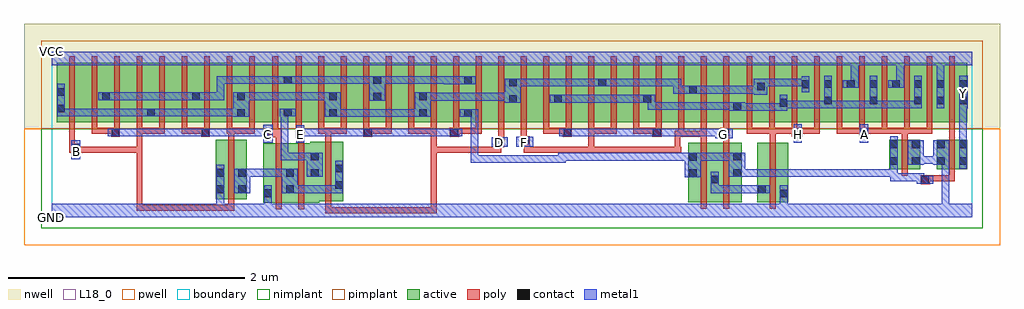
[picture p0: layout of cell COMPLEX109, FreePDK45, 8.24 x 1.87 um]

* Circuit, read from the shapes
.subckt COMPLEX109 A B C D E F G GND H VCC Y
M1 n1 B GND VSUBS nfet w=0.5u l=0.05u
M2 n1 C GND VSUBS nfet w=0.5u l=0.05u
M3 n2 E n1 VSUBS nfet w=0.5u l=0.05u
M4 n1 D n2 VSUBS nfet w=0.5u l=0.05u
M5 n3 F n2 VSUBS nfet w=0.5u l=0.05u
M6 n2 G n3 VSUBS nfet w=0.5u l=0.05u
M7 GND H n3 VSUBS nfet w=0.5u l=0.05u
M8 GND A n2 VSUBS nfet w=0.25u l=0.05u
M9 Y n2 GND VSUBS nfet w=0.25u l=0.05u
M10 n4 B n5 n6 pfet w=0.5u l=0.05u
M11 n2 C n4 n6 pfet w=0.5u l=0.05u
M12 n7 C n2 n6 pfet w=0.5u l=0.05u
M13 n5 B n7 n6 pfet w=0.5u l=0.05u
M14 n8 B n5 n6 pfet w=0.5u l=0.05u
M15 n2 C n8 n6 pfet w=0.5u l=0.05u
M16 n9 C n2 n6 pfet w=0.5u l=0.05u
M17 n5 B n9 n6 pfet w=0.5u l=0.05u
M18 n10 B n5 n6 pfet w=0.5u l=0.05u
M19 n2 C n10 n6 pfet w=0.5u l=0.05u
M20 n11 E n2 n6 pfet w=0.5u l=0.05u
M21 n5 D n11 n6 pfet w=0.5u l=0.05u
M22 n12 D n5 n6 pfet w=0.5u l=0.05u
M23 n2 E n12 n6 pfet w=0.5u l=0.05u
M24 n13 E n2 n6 pfet w=0.5u l=0.05u
M25 n5 D n13 n6 pfet w=0.5u l=0.05u
M26 n14 D n5 n6 pfet w=0.5u l=0.05u
M27 n2 E n14 n6 pfet w=0.5u l=0.05u
M28 n15 E n2 n6 pfet w=0.5u l=0.05u
M29 n5 D n15 n6 pfet w=0.5u l=0.05u
M30 n16 F n5 n6 pfet w=0.5u l=0.05u
M31 n17 G n16 n6 pfet w=0.5u l=0.05u
M32 n18 G n17 n6 pfet w=0.5u l=0.05u
M33 n5 F n18 n6 pfet w=0.5u l=0.05u
M34 n19 F n5 n6 pfet w=0.5u l=0.05u
M35 n17 G n19 n6 pfet w=0.5u l=0.05u
M36 n20 G n17 n6 pfet w=0.5u l=0.05u
M37 n5 F n20 n6 pfet w=0.5u l=0.05u
M38 n21 F n5 n6 pfet w=0.5u l=0.05u
M39 n17 G n21 n6 pfet w=0.5u l=0.05u
M40 n5 H n17 n6 pfet w=0.5u l=0.05u m=4
M41 VCC A n17 n6 pfet w=0.5u l=0.05u m=5
M42 Y n2 VCC n6 pfet w=0.5u l=0.05u
.ends

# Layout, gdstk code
import gdstk
lib = gdstk.Library(unit=1e-6, precision=1e-09)
def R(c, l, rs):  # rectangles x0, y0, x1, y1
    for r in rs: c.add(gdstk.rectangle(r[:2], r[2:], *l))
def A(c, l, x, y, w, h, nx, ny, dx, dy):  # array of equal rectangles
    R(c, l, [(x+i*dx, y+j*dy, x+i*dx+w, y+j*dy+h) for i in range(nx) for j in range(ny)])
active = (1, 0)
pwell = (2, 0)
nwell = (3, 0)
nimplant = (4, 0)
pimplant = (5, 0)
poly = (9, 0)
contact = (10, 0)
metal1 = (11, 0)
L18_0 = (18, 0)
boundary = (235, 0)

complex109 = lib.new_cell('COMPLEX109')
A(complex109, active, 0.04, 0.805, 0.225, 0.5, 4, 1, 0.38, 0)
A(complex109, active, 0.265, 0.805, 0.23, 0.5, 4, 1, 0.38, 0)
A(complex109, active, 2.94, 0.805, 0.23, 0.5, 4, 1, 0.38, 0)
A(complex109, active, 3.095, 0.805, 0.225, 0.5, 4, 1, 0.38, 0)
R(complex109, active, [(1.787,0.125,2.047,0.625), (1.972,0.125,2.257,0.625), (1.787,0.13,1.862,0.592), (5.375,0.13,5.635,0.63), (5.56,0.13,5.825,0.63), (5.957,0.13,6.217,0.63), (2.182,0.137,2.462,0.637), (1.385,0.155,1.645,0.655), (1.385,0.157,1.46,0.655), (6.142,0.157,6.217,0.592), (1.57,0.195,1.645,0.655), (1.972,0.195,2.047,0.592), (2.182,0.195,2.257,0.625), (2.387,0.195,2.462,0.637), (5.375,0.195,5.45,0.63), (5.56,0.195,5.635,0.592), (5.75,0.195,5.825,0.63), (5.957,0.195,6.032,0.63), (7.072,0.405,7.147,0.655), (7.072,0.405,7.332,0.655), (7.47,0.405,7.73,0.655), (7.655,0.405,7.73,0.655), (7.257,0.407,7.332,0.655), (7.47,0.407,7.545,0.655), (0.04,0.805,0.145,1.2), (1.56,0.805,1.792,1.305), (1.792,0.805,2.03,1.305), (1.955,0.805,2.18,1.305), (2.18,0.805,2.41,1.305), (2.335,0.805,2.56,1.305), (2.56,0.805,2.785,1.305), (2.71,0.805,2.94,1.305), (4.46,0.805,4.685,1.305), (4.61,0.805,4.84,1.305), (4.84,0.805,5.065,1.305), (4.99,0.805,5.22,1.305), (5.22,0.805,5.45,1.305), (5.375,0.805,5.6,1.305), (5.6,0.805,5.825,1.305), (5.75,0.805,6.025,1.305), (5.95,0.805,6.215,1.305), (6.14,0.805,6.4,1.305), (6.325,0.805,6.59,1.305), (6.515,0.805,6.782,1.305), (6.707,0.805,6.975,1.305), (6.9,0.805,7.165,1.305), (7.09,0.805,7.35,1.305), (7.275,0.805,7.54,1.305), (7.465,0.805,7.73,1.305), (7.655,0.805,7.73,1.2), (0.42,0.807,0.495,1.2), (0.8,0.807,0.875,1.07), (1.18,0.807,1.255,1.2), (1.56,0.807,1.635,1.07), (1.955,0.807,2.03,1.2), (2.335,0.807,2.41,1.07), (2.71,0.807,2.785,1.2), (3.095,0.807,3.17,1.07), (3.475,0.807,3.55,1.2), (3.855,0.807,3.93,1.2), (4.235,0.807,4.31,1.07), (4.61,0.807,4.685,1.2), (4.99,0.807,5.065,1.07), (5.375,0.807,5.45,1.2), (5.75,0.807,5.825,1.07), (5.95,0.807,6.025,1.2), (6.14,0.807,6.215,1.07), (6.325,0.807,6.4,1.2), (6.515,0.807,6.59,1.2), (6.707,0.807,6.782,1.305), (6.9,0.807,6.975,1.2), (7.09,0.807,7.165,1.305), (7.275,0.807,7.35,1.2), (7.465,0.807,7.54,1.305)])
R(complex109, pwell, [(-0.235,-0.235,8.005,0.75)])
R(complex109, nwell, [(-0.235,0.75,8.005,1.635)])
R(complex109, nimplant, [(-0.09,-0.09,7.86,0.75)])
R(complex109, pimplant, [(-0.09,0.75,7.86,1.49)])
A(complex109, poly, 0.335, 0.705, 0.05, 0.095, 8, 1, 0.19, 0)
A(complex109, poly, 2.25, 0.705, 0.05, 0.095, 8, 1, 0.19, 0)
A(complex109, poly, 2.82, 0.705, 0.05, 0.05, 3, 1, 0.19, 0)
A(complex109, poly, 4.15, 0.705, 0.05, 0.095, 6, 1, 0.19, 0)
A(complex109, poly, 4.53, 0.705, 0.05, 0.05, 3, 1, 0.19, 0)
A(complex109, poly, 5.865, 0.705, 0.05, 0.095, 10, 1, 0.19, 0)
A(complex109, poly, 6.435, 0.705, 0.05, 0.05, 3, 1, 0.19, 0)
A(complex109, poly, 0.145, 0.75, 0.05, 0.61, 9, 1, 0.19, 0)
A(complex109, poly, 2.06, 0.75, 0.05, 0.61, 20, 1, 0.19, 0)
A(complex109, poly, 5.865, 0.75, 0.05, 0.61, 10, 1, 0.19, 0)
R(complex109, poly, [(2.307,0.037,2.357,0.132), (2.307,0.037,2.357,0.087), (2.307,0.037,2.49,0.087), (2.44,0.037,2.49,0.087), (2.44,0.037,2.49,0.087), (2.44,0.037,2.49,0.087), (2.44,0.037,2.622,0.087), (2.572,0.037,2.622,0.087), (2.572,0.037,2.622,0.087), (2.572,0.037,2.622,0.087), (2.572,0.037,2.622,0.087), (2.572,0.037,2.622,0.087), (2.572,0.037,2.927,0.087), (2.877,0.037,2.927,0.087), (2.877,0.037,2.927,0.087), (2.877,0.037,2.927,0.087), (2.877,0.037,3.117,0.087), (3.067,0.037,3.117,0.087), (3.067,0.037,3.117,0.087), (3.067,0.037,3.117,0.087), (3.067,0.037,3.25,0.087), (3.2,0.037,3.25,0.087), (3.2,0.037,3.25,0.087), (3.2,0.037,3.25,0.087), (3.2,0.037,3.25,0.597), (0.715,0.055,0.765,0.105), (0.715,0.055,0.975,0.105), (0.715,0.055,0.765,0.597), (0.925,0.055,0.975,0.105), (0.925,0.055,0.975,0.105), (0.925,0.055,0.975,0.105), (0.925,0.055,1.145,0.105), (1.095,0.055,1.145,0.105), (1.095,0.055,1.145,0.105), (1.095,0.055,1.145,0.105), (1.095,0.055,1.145,0.105), (1.095,0.055,1.145,0.105), (1.095,0.055,1.145,0.105), (1.095,0.055,1.145,0.105), (1.095,0.055,1.277,0.105), (1.227,0.055,1.277,0.105), (1.227,0.055,1.277,0.105), (1.227,0.055,1.277,0.105), (1.227,0.055,1.54,0.105), (1.49,0.055,1.54,0.15), (1.49,0.055,1.54,0.105), (1.49,0.055,1.54,0.105), (1.49,0.055,1.54,0.105), (1.892,0.07,1.942,0.68), (2.082,0.07,2.132,0.68), (5.48,0.075,5.53,0.685), (5.67,0.075,5.72,0.685), (6.062,0.075,6.112,0.685), (2.307,0.082,2.357,0.692), (1.49,0.1,1.54,0.71), (7.335,0.28,7.41,0.355), (7.36,0.305,7.625,0.355), (7.575,0.305,7.625,0.4), (7.575,0.305,7.625,0.355), (7.575,0.305,7.625,0.355), (7.575,0.305,7.625,0.355), (7.177,0.35,7.227,0.71), (7.575,0.35,7.625,0.71), (0.145,0.547,0.235,0.622), (0.185,0.547,0.235,0.597), (0.185,0.547,0.235,0.597), (0.185,0.547,0.235,0.597), (0.185,0.547,0.235,0.597), (0.185,0.547,0.235,0.597), (0.185,0.547,0.235,0.597), (0.185,0.547,0.367,0.597), (0.317,0.547,0.367,0.597), (0.317,0.547,0.632,0.597), (0.582,0.547,0.632,0.597), (0.582,0.547,0.632,0.597), (0.582,0.547,0.632,0.597), (0.582,0.547,0.765,0.597), (0.715,0.547,0.765,0.597), (0.715,0.547,0.765,0.597), (0.715,0.547,0.765,0.597), (0.715,0.547,0.765,0.597), (0.715,0.547,0.765,0.597), (0.715,0.547,0.765,0.755), (3.2,0.547,3.25,0.597), (3.2,0.547,3.25,0.597), (3.2,0.547,3.25,0.597), (3.2,0.547,3.25,0.755), (3.2,0.547,3.497,0.597), (3.447,0.547,3.497,0.597), (3.447,0.547,3.497,0.597), (3.447,0.547,3.497,0.597), (3.447,0.547,3.662,0.597), (3.612,0.547,3.662,0.597), (3.612,0.547,3.662,0.597), (3.612,0.547,3.662,0.597), (3.612,0.547,3.795,0.597), (3.745,0.547,3.795,0.642), (3.745,0.547,3.795,0.597), (3.745,0.547,3.795,0.597), (3.745,0.547,3.795,0.597), (3.985,0.547,4.035,0.597), (3.985,0.547,4.035,0.597), (3.985,0.547,4.035,0.597), (3.985,0.547,4.035,0.597), (3.985,0.547,4.035,0.597), (3.985,0.547,4.232,0.597), (3.985,0.547,4.035,0.662), (4.182,0.547,4.232,0.597), (4.182,0.547,4.232,0.597), (4.182,0.547,4.232,0.597), (4.182,0.547,4.447,0.597), (4.397,0.547,4.447,0.597), (4.397,0.547,4.447,0.597), (4.397,0.547,4.447,0.597), (4.397,0.547,4.58,0.597), (4.53,0.547,4.58,0.597), (4.53,0.547,4.58,0.597), (4.53,0.547,4.58,0.597), (4.53,0.547,4.712,0.597), (4.53,0.547,4.58,0.755), (4.662,0.547,4.712,0.597), (4.662,0.547,4.845,0.597), (4.795,0.547,4.845,0.597), (4.795,0.547,4.845,0.597), (4.795,0.547,4.845,0.597), (4.795,0.547,5.175,0.597), (5.125,0.547,5.175,0.597), (5.125,0.547,5.175,0.597), (5.125,0.547,5.175,0.597), (5.125,0.547,5.307,0.597), (5.257,0.547,5.307,0.73), (5.257,0.547,5.315,0.597), (5.257,0.547,5.315,0.597), (5.265,0.547,5.315,0.597), (0.145,0.572,0.195,0.8), (3.745,0.592,3.795,0.642), (3.745,0.592,3.795,0.642), (3.745,0.592,3.82,0.667), (3.96,0.612,4.035,0.687), (3.77,0.617,3.82,0.8), (1.892,0.63,1.942,0.727), (2.082,0.63,2.132,0.725), (5.48,0.635,5.53,0.73), (5.67,0.635,5.72,0.73), (6.062,0.635,6.112,0.755), (3.96,0.637,4.01,0.8), (2.307,0.642,2.357,0.755), (1.49,0.66,1.54,0.755), (7.177,0.66,7.227,0.755), (7.575,0.66,7.625,0.755), (2.057,0.675,2.132,0.75), (1.797,0.677,1.942,0.752), (0.5,0.68,0.575,0.755), (1.26,0.68,1.335,0.755), (2.63,0.68,2.705,0.755), (3.36,0.68,3.44,0.755), (4.315,0.68,4.39,0.755), (5.07,0.68,5.15,0.755), (5.257,0.68,5.307,0.73), (5.257,0.68,5.307,0.73), (5.257,0.68,5.34,0.73), (5.29,0.68,5.53,0.73), (5.29,0.68,5.34,0.8), (5.48,0.68,5.53,0.73), (5.48,0.68,5.53,0.73), (5.48,0.68,5.53,0.73), (5.48,0.68,5.53,0.8), (5.645,0.68,5.72,0.755), (6.245,0.68,6.335,0.755), (6.815,0.68,6.89,0.755), (2.06,0.7,2.11,0.8), (1.862,0.702,1.912,0.8), (0.335,0.705,0.385,0.755), (0.335,0.705,0.55,0.755), (0.5,0.705,0.55,0.755), (0.5,0.705,0.55,0.755), (0.715,0.705,0.765,0.755), (0.715,0.705,0.955,0.755), (0.905,0.705,0.955,0.755), (0.905,0.705,0.955,0.755), (0.905,0.705,0.955,0.755), (1.095,0.705,1.145,0.755), (1.095,0.705,1.31,0.755), (1.26,0.705,1.31,0.755), (1.26,0.705,1.31,0.755), (1.475,0.705,1.54,0.755), (1.49,0.705,1.715,0.755), (1.665,0.705,1.715,0.755), (1.665,0.705,1.715,0.755), (1.665,0.705,1.715,0.755), (2.25,0.705,2.357,0.755), (2.307,0.705,2.49,0.755), (2.44,0.705,2.49,0.755), (2.44,0.705,2.49,0.755), (2.44,0.705,2.49,0.755), (2.655,0.705,2.87,0.755), (2.82,0.705,2.87,0.755), (2.82,0.705,2.87,0.755), (3.01,0.705,3.25,0.755), (3.2,0.705,3.25,0.755), (3.2,0.705,3.25,0.755), (3.2,0.705,3.25,0.755), (3.2,0.705,3.25,0.755), (3.39,0.705,3.63,0.755), (3.58,0.705,3.63,0.755), (3.58,0.705,3.63,0.755), (3.58,0.705,3.63,0.755), (4.15,0.705,4.2,0.755), (4.15,0.705,4.2,0.755), (4.15,0.705,4.2,0.755), (4.15,0.705,4.365,0.755), (4.53,0.705,4.58,0.755), (4.53,0.705,4.58,0.755), (4.53,0.705,4.58,0.755), (4.53,0.705,4.58,0.755), (4.53,0.705,4.77,0.755), (4.91,0.705,5.12,0.755), (5.07,0.705,5.12,0.755), (5.07,0.705,5.12,0.755), (5.67,0.705,5.72,0.8), (5.865,0.705,5.915,0.755), (5.865,0.705,5.915,0.755), (5.865,0.705,5.915,0.755), (5.865,0.705,6.105,0.755), (6.055,0.705,6.112,0.755), (6.062,0.705,6.112,0.755), (6.062,0.705,6.112,0.755), (6.062,0.705,6.295,0.755), (6.285,0.705,6.485,0.755), (6.435,0.705,6.485,0.755), (6.435,0.705,6.485,0.755), (6.625,0.705,6.865,0.755), (6.815,0.705,6.865,0.755), (6.84,0.705,7.055,0.755), (7.005,0.705,7.055,0.755), (7.005,0.705,7.055,0.755), (7.005,0.705,7.055,0.755), (7.005,0.705,7.227,0.755), (7.177,0.705,7.227,0.755), (7.177,0.705,7.227,0.755), (7.177,0.705,7.245,0.755), (7.195,0.705,7.435,0.755), (7.385,0.705,7.435,0.755), (7.385,0.705,7.435,0.755), (7.385,0.705,7.435,0.755), (7.575,0.705,7.625,0.755), (1.862,0.75,1.912,1.36)])
A(complex109, contact, 7.28, 0.955, 0.065, 0.065, 3, 2, 0.19, 0.14)
R(complex109, contact, [(6.147,0.17,6.212,0.235), (1.792,0.172,1.857,0.237), (1.39,0.205,1.455,0.27), (1.575,0.205,1.64,0.27), (1.977,0.205,2.042,0.27), (5.962,0.205,6.027,0.27), (2.392,0.24,2.457,0.305), (7.34,0.285,7.405,0.35), (5.565,0.287,5.63,0.352), (5.38,0.34,5.445,0.405), (2.187,0.342,2.252,0.407), (5.755,0.342,5.82,0.407), (1.39,0.345,1.455,0.41), (1.575,0.345,1.64,0.41), (1.977,0.345,2.042,0.41), (2.392,0.38,2.457,0.445), (7.077,0.445,7.142,0.51), (7.262,0.445,7.327,0.51), (7.475,0.445,7.54,0.51), (7.66,0.445,7.725,0.51), (5.38,0.48,5.445,0.545), (2.187,0.482,2.252,0.547), (5.755,0.482,5.82,0.547), (0.165,0.552,0.23,0.617), (7.077,0.585,7.142,0.65), (7.262,0.585,7.327,0.65), (7.475,0.585,7.54,0.65), (7.66,0.585,7.725,0.65), (3.75,0.597,3.815,0.662), (3.965,0.617,4.03,0.682), (2.062,0.68,2.127,0.745), (1.802,0.682,1.867,0.747), (0.505,0.685,0.57,0.75), (1.265,0.685,1.33,0.75), (2.635,0.685,2.7,0.75), (3.365,0.685,3.43,0.75), (4.32,0.685,4.385,0.75), (5.075,0.685,5.14,0.75), (5.65,0.685,5.715,0.75), (6.265,0.685,6.33,0.75), (6.82,0.685,6.885,0.75), (1.565,0.85,1.63,0.915), (2.34,0.85,2.405,0.915), (3.1,0.85,3.165,0.915), (3.48,0.85,3.545,0.915), (0.805,0.852,0.87,0.917), (1.96,0.852,2.025,0.917), (0.045,0.887,0.11,0.952), (5.755,0.907,5.82,0.972), (6.145,0.935,6.21,1), (6.52,0.955,6.585,1.02), (6.905,0.955,6.97,1.02), (3.86,0.967,3.925,1.032), (4.24,0.97,4.305,1.035), (4.995,0.97,5.06,1.035), (2.715,0.987,2.78,1.052), (0.425,0.99,0.49,1.055), (1.185,0.99,1.25,1.055), (1.565,0.99,1.63,1.055), (2.34,0.99,2.405,1.055), (3.1,0.99,3.165,1.055), (0.045,1.027,0.11,1.092), (5.38,1.045,5.445,1.11), (5.955,1.072,6.02,1.137), (6.33,1.092,6.395,1.157), (6.52,1.095,6.585,1.16), (6.712,1.095,6.777,1.16), (6.905,1.095,6.97,1.16), (7.095,1.095,7.16,1.16), (3.86,1.107,3.925,1.172), (4.615,1.107,4.68,1.172), (3.48,1.125,3.545,1.19), (1.96,1.127,2.025,1.192), (2.715,1.127,2.78,1.192)])
R(complex109, metal1, [(0,0,7.77,0.115), (1.39,0.05,1.455,0.235), (1.792,0.05,1.857,0.115), (1.792,0.05,1.857,0.115), (1.792,0.05,1.857,0.202), (6.147,0.05,6.212,0.2), (7.512,0.05,7.577,0.115), (7.512,0.05,7.577,0.115), (7.512,0.05,7.577,0.115), (7.512,0.05,7.577,0.115), (7.512,0.05,7.577,0.51), (6.147,0.135,6.212,0.2), (6.147,0.135,6.212,0.2), (6.147,0.135,6.212,0.27), (1.792,0.137,1.857,0.272), (1.39,0.17,1.455,0.235), (1.39,0.17,1.455,0.235), (1.39,0.17,1.455,0.445), (1.54,0.205,1.675,0.41), (1.942,0.205,2.077,0.41), (2.012,0.205,2.232,0.27), (2.167,0.205,2.232,0.27), (2.167,0.205,2.232,0.27), (2.167,0.205,2.232,0.27), (2.167,0.205,2.375,0.27), (2.31,0.205,2.375,0.27), (2.31,0.205,2.457,0.27), (2.392,0.205,2.457,0.48), (5.562,0.205,5.63,0.332), (5.565,0.205,5.777,0.27), (5.712,0.205,5.777,0.27), (5.712,0.205,5.777,0.27), (5.712,0.205,5.777,0.27), (5.712,0.205,5.992,0.27), (5.927,0.205,6.062,0.27), (5.562,0.252,5.63,0.387), (5.562,0.267,5.627,0.332), (7.302,0.285,7.367,0.35), (7.302,0.285,7.44,0.35), (7.302,0.285,7.367,0.372), (7.077,0.307,7.142,0.372), (7.077,0.307,7.142,0.372), (7.077,0.307,7.367,0.372), (7.077,0.307,7.142,0.407), (5.342,0.34,5.48,0.545), (2.152,0.342,2.287,0.547), (5.717,0.342,5.855,0.547), (5.79,0.342,5.992,0.407), (5.927,0.342,5.992,0.407), (5.927,0.342,5.992,0.407), (5.927,0.342,5.992,0.407), (5.927,0.342,6.13,0.407), (6.065,0.342,6.13,0.407), (6.065,0.342,6.227,0.407), (6.162,0.342,6.227,0.407), (6.162,0.342,6.365,0.407), (6.3,0.342,6.365,0.407), (6.3,0.342,6.365,0.407), (6.3,0.342,6.365,0.407), (6.3,0.342,6.532,0.407), (6.467,0.342,6.532,0.407), (6.467,0.342,6.532,0.407), (6.467,0.342,6.532,0.407), (6.467,0.342,6.67,0.407), (6.605,0.342,6.67,0.407), (6.605,0.342,6.73,0.407), (6.665,0.342,6.73,0.407), (6.665,0.342,6.832,0.407), (6.767,0.342,6.832,0.407), (6.767,0.342,6.987,0.407), (6.922,0.342,6.987,0.407), (6.922,0.342,7.005,0.407), (6.94,0.342,7.005,0.407), (6.94,0.342,7.142,0.407), (7.077,0.342,7.142,0.475), (1.61,0.345,1.675,0.41), (1.61,0.345,1.675,0.41), (1.61,0.345,1.812,0.41), (1.747,0.345,1.812,0.41), (1.747,0.345,1.812,0.41), (1.747,0.345,1.812,0.41), (1.747,0.345,2.007,0.41), (7.077,0.41,7.142,0.685), (7.66,0.41,7.725,0.685), (7.227,0.445,7.362,0.65), (7.44,0.445,7.577,0.65), (7.512,0.445,7.577,0.51), (7.512,0.445,7.577,0.51), (7.297,0.452,7.505,0.517), (7.44,0.452,7.505,0.517), (7.44,0.452,7.505,0.517), (3.537,0.46,3.752,0.525), (3.537,0.46,3.602,0.545), (3.687,0.46,3.752,0.525), (3.687,0.46,3.752,0.525), (3.687,0.46,3.752,0.525), (3.687,0.46,3.96,0.525), (3.895,0.46,3.96,0.525), (3.895,0.46,3.96,0.525), (3.895,0.46,3.96,0.525), (3.895,0.46,4.132,0.525), (4.067,0.46,4.132,0.525), (4.067,0.46,4.132,0.525), (4.067,0.46,4.132,0.525), (4.067,0.46,4.34,0.525), (4.275,0.46,4.34,0.545), (4.275,0.46,4.34,0.545), (3.537,0.48,3.602,0.545), (3.537,0.48,3.602,0.545), (3.537,0.48,3.602,0.545), (3.537,0.48,3.602,0.545), (3.537,0.48,3.602,0.915), (4.275,0.48,4.34,0.545), (4.275,0.48,4.34,0.545), (4.275,0.48,4.34,0.545), (4.275,0.48,4.477,0.545), (4.412,0.48,4.477,0.545), (4.412,0.48,4.557,0.545), (4.492,0.48,4.557,0.545), (4.492,0.48,4.715,0.545), (4.65,0.48,4.715,0.545), (4.65,0.48,4.715,0.545), (4.65,0.48,4.715,0.545), (4.65,0.48,4.887,0.545), (4.822,0.48,4.887,0.545), (4.822,0.48,4.887,0.545), (4.822,0.48,4.887,0.545), (4.822,0.48,5.105,0.545), (5.04,0.48,5.105,0.545), (5.04,0.48,5.105,0.545), (5.04,0.48,5.105,0.545), (5.04,0.48,5.242,0.545), (5.177,0.48,5.242,0.545), (5.177,0.48,5.312,0.545), (5.247,0.48,5.312,0.545), (5.247,0.48,5.407,0.545), (5.415,0.48,5.48,0.545), (5.415,0.48,5.48,0.545), (5.415,0.48,5.627,0.545), (5.562,0.48,5.627,0.545), (5.562,0.48,5.627,0.545), (5.562,0.48,5.627,0.545), (5.562,0.48,5.782,0.545), (1.932,0.482,1.997,0.547), (1.932,0.482,2.217,0.547), (1.932,0.482,1.997,0.58), (2.152,0.482,2.217,0.547), (2.152,0.482,2.217,0.547), (0.165,0.492,0.242,0.652), (1.932,0.515,1.997,0.58), (1.932,0.515,1.997,0.917), (3.712,0.597,3.85,0.675), (3.922,0.597,4.065,0.682), (7.66,0.62,7.725,0.685), (7.66,0.62,7.725,0.685), (7.66,0.62,7.725,0.985), (1.787,0.632,1.867,0.782), (2.062,0.632,2.132,0.78), (6.265,0.632,6.332,0.785), (6.82,0.632,6.892,0.785), (5.602,0.667,5.75,0.75), (0.47,0.685,0.605,0.75), (0.54,0.685,0.665,0.75), (0.6,0.685,0.665,0.75), (0.6,0.685,0.742,0.75), (0.677,0.685,0.742,0.75), (0.677,0.685,0.905,0.75), (0.84,0.685,0.905,0.75), (0.84,0.685,0.905,0.75), (0.84,0.685,0.905,0.75), (0.84,0.685,1.047,0.75), (0.982,0.685,1.047,0.75), (0.982,0.685,1.047,0.75), (0.982,0.685,1.047,0.75), (0.982,0.685,1.295,0.75), (1.23,0.685,1.295,0.75), (1.23,0.685,1.295,0.75), (1.23,0.685,1.365,0.75), (1.3,0.685,1.452,0.75), (1.387,0.685,1.452,0.75), (1.387,0.685,1.527,0.75), (1.462,0.685,1.527,0.75), (1.462,0.685,1.665,0.75), (1.6,0.685,1.665,0.75), (1.6,0.685,1.665,0.75), (1.6,0.685,1.665,0.75), (1.6,0.685,1.852,0.75), (1.787,0.685,1.852,0.75), (1.787,0.685,1.852,0.75), (2.067,0.685,2.215,0.75), (2.15,0.685,2.215,0.75), (2.15,0.685,2.39,0.75), (2.325,0.685,2.39,0.75), (2.325,0.685,2.39,0.75), (2.325,0.685,2.39,0.75), (2.325,0.685,2.527,0.75), (2.462,0.685,2.527,0.75), (2.462,0.685,2.577,0.75), (2.512,0.685,2.577,0.75), (2.512,0.685,2.665,0.75), (2.6,0.685,2.735,0.75), (2.67,0.685,2.735,0.75), (2.67,0.685,2.735,0.75), (2.67,0.685,2.925,0.75), (2.86,0.685,2.925,0.75), (2.86,0.685,2.952,0.75), (2.887,0.685,2.952,0.75), (2.887,0.685,3.062,0.75), (2.997,0.685,3.062,0.75), (2.997,0.685,3.227,0.75), (3.162,0.685,3.227,0.75), (3.162,0.685,3.227,0.75), (3.162,0.685,3.227,0.75), (3.162,0.685,3.365,0.75), (3.3,0.685,3.365,0.75), (3.3,0.685,3.395,0.75), (3.33,0.685,3.465,0.75), (4.285,0.685,4.42,0.75), (4.355,0.685,4.477,0.75), (4.412,0.685,4.477,0.75), (4.412,0.685,4.557,0.75), (4.492,0.685,4.557,0.75), (4.492,0.685,4.697,0.75), (4.632,0.685,4.697,0.75), (4.632,0.685,4.697,0.75), (4.632,0.685,4.697,0.75), (4.632,0.685,4.887,0.75), (4.822,0.685,4.887,0.75), (4.822,0.685,4.887,0.75), (4.822,0.685,4.887,0.75), (4.822,0.685,5.105,0.75), (5.04,0.685,5.105,0.75), (5.04,0.685,5.105,0.75), (5.04,0.685,5.175,0.75), (5.11,0.685,5.242,0.75), (5.177,0.685,5.242,0.75), (5.177,0.685,5.312,0.75), (5.247,0.685,5.312,0.75), (5.247,0.685,5.49,0.75), (5.425,0.685,5.49,0.75), (5.425,0.685,5.49,0.75), (5.425,0.685,5.49,0.75), (5.425,0.685,5.64,0.75), (5.575,0.685,5.64,0.75), (5.575,0.685,5.667,0.75), (1.53,0.85,1.665,1.055), (2.305,0.85,2.44,1.055), (2.375,0.85,2.527,0.915), (2.462,0.85,2.527,0.915), (2.462,0.85,2.577,0.915), (2.512,0.85,2.577,0.915), (2.512,0.85,2.787,0.915), (2.722,0.85,2.787,0.915), (2.722,0.85,2.787,0.915), (2.722,0.85,2.787,0.915), (2.722,0.85,2.925,0.915), (2.86,0.85,2.925,0.915), (2.86,0.85,2.952,0.915), (2.887,0.85,2.952,0.915), (2.887,0.85,3.062,0.915), (2.997,0.85,3.062,0.915), (2.997,0.85,3.13,0.915), (3.065,0.85,3.2,1.055), (3.445,0.85,3.602,0.915), (3.537,0.85,3.602,0.915), (3.537,0.85,3.602,0.915), (0.045,0.852,0.11,0.917), (0.045,0.852,0.11,0.917), (0.045,0.852,0.11,1.127), (0.045,0.852,0.317,0.917), (0.252,0.852,0.317,0.917), (0.252,0.852,0.317,0.917), (0.252,0.852,0.317,0.917), (0.252,0.852,0.455,0.917), (0.39,0.852,0.455,0.917), (0.39,0.852,0.455,0.917), (0.39,0.852,0.455,0.917), (0.39,0.852,0.665,0.917), (0.6,0.852,0.665,0.917), (0.6,0.852,0.742,0.917), (0.677,0.852,0.742,0.917), (0.677,0.852,0.835,0.917), (0.77,0.852,0.905,0.917), (0.84,0.852,0.905,0.917), (0.84,0.852,0.905,0.917), (0.84,0.852,1.072,0.917), (1.007,0.852,1.072,0.917), (1.007,0.852,1.072,0.917), (1.007,0.852,1.072,0.917), (1.007,0.852,1.315,0.917), (1.25,0.852,1.315,0.917), (1.25,0.852,1.315,0.917), (1.25,0.852,1.315,0.917), (1.25,0.852,1.457,0.917), (1.392,0.852,1.457,0.917), (1.392,0.852,1.502,0.917), (1.437,0.852,1.502,0.917), (1.437,0.852,1.595,0.917), (1.925,0.852,2.06,0.917), (5.72,0.9,5.855,0.972), (5.79,0.9,5.992,0.965), (5.927,0.9,5.992,0.965), (5.927,0.9,5.992,0.965), (5.927,0.9,5.992,0.965), (5.927,0.9,6.13,0.965), (6.065,0.9,6.13,0.965), (6.065,0.9,6.21,0.965), (6.145,0.9,6.21,1.035), (5.03,0.907,5.242,0.972), (5.03,0.907,5.095,1.035), (5.177,0.907,5.242,0.972), (5.177,0.907,5.342,0.972), (5.277,0.907,5.342,0.972), (5.277,0.907,5.48,0.972), (5.415,0.907,5.48,0.972), (5.415,0.907,5.48,0.972), (5.415,0.907,5.48,0.972), (5.415,0.907,5.64,0.972), (5.575,0.907,5.64,0.972), (5.575,0.907,5.64,0.972), (5.575,0.907,5.64,0.972), (5.575,0.907,5.785,0.972), (6.145,0.92,6.377,0.985), (6.312,0.92,6.377,0.985), (6.312,0.92,6.377,0.985), (6.312,0.92,6.377,0.985), (6.312,0.92,6.532,0.985), (6.467,0.92,6.532,0.985), (6.467,0.92,6.585,0.985), (6.52,0.92,6.585,1.195), (6.52,0.92,6.67,0.985), (6.605,0.92,6.67,0.985), (6.605,0.92,6.73,0.985), (6.665,0.92,6.73,0.985), (6.665,0.92,6.832,0.985), (6.767,0.92,6.832,0.985), (6.767,0.92,6.97,0.985), (6.905,0.92,6.97,0.985), (6.905,0.92,6.97,0.985), (6.905,0.92,6.97,1.195), (6.905,0.92,7.155,0.985), (7.09,0.92,7.155,0.985), (7.09,0.92,7.155,0.985), (7.09,0.92,7.155,0.985), (7.09,0.92,7.345,0.985), (7.28,0.92,7.345,1.195), (7.47,0.92,7.535,1.195), (7.66,0.92,7.725,0.985), (7.66,0.92,7.725,0.985), (7.66,0.92,7.732,1.195), (3.825,0.967,3.96,1.172), (4.205,0.97,4.34,1.035), (4.275,0.97,4.34,1.035), (4.275,0.97,4.34,1.035), (4.275,0.97,4.477,1.035), (4.412,0.97,4.477,1.035), (4.412,0.97,4.56,1.035), (4.495,0.97,4.56,1.035), (4.495,0.97,4.697,1.035), (4.632,0.97,4.697,1.035), (4.632,0.97,4.697,1.035), (4.632,0.97,4.697,1.035), (4.632,0.97,4.852,1.035), (4.787,0.97,4.852,1.035), (4.787,0.97,4.852,1.035), (4.787,0.97,4.852,1.035), (4.787,0.97,5.025,1.035), (4.96,0.97,5.095,1.035), (5.03,0.97,5.095,1.035), (2.68,0.987,2.815,1.192), (3.135,0.987,3.2,1.052), (3.135,0.987,3.2,1.052), (3.135,0.987,3.365,1.052), (3.3,0.987,3.365,1.052), (3.3,0.987,3.365,1.052), (3.3,0.987,3.365,1.052), (3.3,0.987,3.615,1.052), (3.55,0.987,3.615,1.052), (3.55,0.987,3.615,1.052), (3.55,0.987,3.615,1.052), (3.55,0.987,3.752,1.052), (3.687,0.987,3.752,1.052), (3.687,0.987,3.752,1.052), (3.687,0.987,3.752,1.052), (3.687,0.987,3.89,1.052), (0.39,0.99,0.525,1.055), (0.46,0.99,0.525,1.055), (0.46,0.99,0.525,1.055), (0.46,0.99,0.662,1.055), (0.597,0.99,0.662,1.055), (0.597,0.99,0.742,1.055), (0.677,0.99,0.742,1.055), (0.677,0.99,0.905,1.055), (0.84,0.99,0.905,1.055), (0.84,0.99,0.905,1.055), (0.84,0.99,0.905,1.055), (0.84,0.99,1.042,1.055), (0.977,0.99,1.042,1.055), (0.977,0.99,1.042,1.055), (0.977,0.99,1.042,1.055), (0.977,0.99,1.215,1.055), (1.15,0.99,1.285,1.055), (1.22,0.99,1.285,1.055), (1.22,0.99,1.285,1.055), (1.22,0.99,1.457,1.055), (1.392,0.99,1.457,1.055), (1.392,0.99,1.457,1.192), (1.6,0.99,1.665,1.055), (1.6,0.99,1.665,1.055), (1.6,0.99,1.845,1.055), (1.78,0.99,1.845,1.055), (1.78,0.99,1.845,1.055), (1.78,0.99,1.845,1.055), (1.78,0.99,1.845,1.055), (1.78,0.99,1.845,1.055), (1.78,0.99,1.995,1.055), (1.93,0.99,1.995,1.055), (1.93,0.99,2.232,1.055), (2.167,0.99,2.232,1.055), (2.167,0.99,2.232,1.055), (2.167,0.99,2.232,1.055), (2.167,0.99,2.37,1.055), (2.305,0.99,2.37,1.055), (2.305,0.99,2.37,1.055), (5.927,1.037,6.042,1.172), (5.247,1.045,5.41,1.11), (5.247,1.045,5.312,1.172), (5.345,1.045,5.48,1.11), (5.415,1.045,5.48,1.11), (5.415,1.045,5.48,1.11), (5.415,1.045,5.64,1.11), (5.575,1.045,5.64,1.11), (5.575,1.045,5.64,1.11), (5.575,1.045,5.64,1.11), (5.575,1.045,5.855,1.11), (5.79,1.045,5.855,1.11), (5.79,1.045,5.992,1.11), (5.927,1.045,5.992,1.11), (5.927,1.045,5.992,1.11), (6.33,1.057,6.395,1.192), (6.677,1.095,6.812,1.16), (6.747,1.095,6.812,1.35), (7.06,1.095,7.195,1.16), (7.13,1.095,7.195,1.35), (3.895,1.107,3.96,1.172), (3.895,1.107,3.96,1.172), (3.895,1.107,4.097,1.172), (4.032,1.107,4.097,1.172), (4.032,1.107,4.097,1.172), (4.032,1.107,4.097,1.172), (4.032,1.107,4.097,1.172), (4.032,1.107,4.097,1.172), (4.032,1.107,4.34,1.172), (4.275,1.107,4.34,1.172), (4.275,1.107,4.34,1.172), (4.275,1.107,4.34,1.172), (4.275,1.107,4.477,1.172), (4.412,1.107,4.477,1.172), (4.412,1.107,4.557,1.172), (4.492,1.107,4.557,1.172), (4.492,1.107,4.645,1.172), (4.58,1.107,4.715,1.172), (4.65,1.107,4.715,1.172), (4.65,1.107,4.715,1.172), (4.65,1.107,4.882,1.172), (4.817,1.107,4.882,1.172), (4.817,1.107,4.882,1.172), (4.817,1.107,4.882,1.172), (4.817,1.107,5.025,1.172), (4.96,1.107,5.025,1.172), (4.96,1.107,5.025,1.172), (4.96,1.107,5.025,1.172), (4.96,1.107,5.242,1.172), (5.177,1.107,5.242,1.172), (5.177,1.107,5.312,1.172), (5.977,1.107,6.187,1.172), (6.122,1.107,6.187,1.172), (6.122,1.107,6.187,1.172), (6.122,1.107,6.187,1.172), (6.122,1.107,6.395,1.172), (6.33,1.107,6.395,1.172), (6.33,1.107,6.395,1.172), (3.307,1.125,3.372,1.19), (3.307,1.125,3.372,1.19), (3.307,1.125,3.51,1.19), (3.307,1.125,3.372,1.192), (3.445,1.125,3.58,1.19), (1.392,1.127,1.457,1.192), (1.392,1.127,1.502,1.192), (1.437,1.127,1.502,1.192), (1.437,1.127,1.665,1.192), (1.6,1.127,1.665,1.192), (1.6,1.127,1.665,1.192), (1.6,1.127,1.665,1.192), (1.6,1.127,1.852,1.192), (1.787,1.127,1.852,1.192), (1.787,1.127,1.99,1.192), (1.925,1.127,1.99,1.192), (1.925,1.127,1.99,1.192), (1.925,1.127,2.06,1.192), (1.995,1.127,2.215,1.192), (2.15,1.127,2.215,1.192), (2.15,1.127,2.215,1.192), (2.15,1.127,2.215,1.192), (2.15,1.127,2.37,1.192), (2.305,1.127,2.37,1.192), (2.305,1.127,2.37,1.192), (2.305,1.127,2.37,1.192), (2.305,1.127,2.527,1.192), (2.462,1.127,2.527,1.192), (2.462,1.127,2.577,1.192), (2.512,1.127,2.577,1.192), (2.512,1.127,2.745,1.192), (2.68,1.127,2.745,1.192), (2.68,1.127,2.745,1.192), (2.75,1.127,2.925,1.192), (2.86,1.127,2.925,1.192), (2.86,1.127,2.952,1.192), (2.887,1.127,2.952,1.192), (2.887,1.127,3.062,1.192), (2.997,1.127,3.062,1.192), (2.997,1.127,3.227,1.192), (3.162,1.127,3.227,1.192), (3.162,1.127,3.227,1.192), (3.162,1.127,3.227,1.192), (3.162,1.127,3.372,1.192), (7.47,1.13,7.535,1.35), (0,1.285,7.77,1.4)])
R(complex109, L18_0, [(0,0,7.77,0.115), (1.39,0.05,1.455,0.235), (1.792,0.05,1.857,0.115), (1.792,0.05,1.857,0.115), (1.792,0.05,1.857,0.202), (6.147,0.05,6.212,0.2), (7.512,0.05,7.577,0.115), (7.512,0.05,7.577,0.115), (7.512,0.05,7.577,0.115), (7.512,0.05,7.577,0.115), (7.512,0.05,7.577,0.51), (6.147,0.135,6.212,0.2), (6.147,0.135,6.212,0.2), (6.147,0.135,6.212,0.27), (1.792,0.137,1.857,0.272), (1.39,0.17,1.455,0.235), (1.39,0.17,1.455,0.235), (1.39,0.17,1.455,0.445), (7.66,0.41,7.725,0.685), (7.227,0.445,7.362,0.65), (7.44,0.445,7.577,0.65), (7.512,0.445,7.577,0.51), (7.512,0.445,7.577,0.51), (7.297,0.452,7.505,0.517), (7.44,0.452,7.505,0.517), (7.44,0.452,7.505,0.517), (0.165,0.492,0.242,0.652), (0.177,0.527,0.242,0.592), (3.712,0.597,3.85,0.675), (3.747,0.597,3.812,0.662), (3.922,0.597,4.065,0.682), (3.957,0.597,4.022,0.662), (7.66,0.62,7.725,0.685), (7.66,0.62,7.725,0.685), (7.66,0.62,7.725,0.985), (1.787,0.632,1.867,0.782), (2.062,0.632,2.132,0.78), (6.265,0.632,6.332,0.785), (6.82,0.632,6.892,0.785), (1.787,0.667,1.852,0.732), (2.067,0.667,2.132,0.732), (5.602,0.667,5.75,0.75), (5.637,0.667,5.702,0.732), (6.267,0.667,6.332,0.732), (6.827,0.667,6.892,0.732), (0.47,0.685,0.605,0.75), (0.54,0.685,0.665,0.75), (0.6,0.685,0.665,0.75), (0.6,0.685,0.742,0.75), (0.677,0.685,0.742,0.75), (0.677,0.685,0.905,0.75), (0.84,0.685,0.905,0.75), (0.84,0.685,0.905,0.75), (0.84,0.685,0.905,0.75), (0.84,0.685,1.047,0.75), (0.982,0.685,1.047,0.75), (0.982,0.685,1.047,0.75), (0.982,0.685,1.047,0.75), (0.982,0.685,1.295,0.75), (1.23,0.685,1.365,0.75), (1.23,0.685,1.295,0.75), (1.23,0.685,1.295,0.75), (1.3,0.685,1.452,0.75), (1.387,0.685,1.452,0.75), (1.387,0.685,1.527,0.75), (1.462,0.685,1.527,0.75), (1.462,0.685,1.665,0.75), (1.6,0.685,1.665,0.75), (1.6,0.685,1.665,0.75), (1.6,0.685,1.665,0.75), (1.6,0.685,1.852,0.75), (1.787,0.685,1.852,0.75), (1.787,0.685,1.852,0.75), (2.067,0.685,2.215,0.75), (2.15,0.685,2.215,0.75), (2.15,0.685,2.39,0.75), (2.325,0.685,2.39,0.75), (2.325,0.685,2.39,0.75), (2.325,0.685,2.39,0.75), (2.325,0.685,2.527,0.75), (2.462,0.685,2.527,0.75), (2.462,0.685,2.577,0.75), (2.512,0.685,2.577,0.75), (2.512,0.685,2.665,0.75), (2.6,0.685,2.735,0.75), (2.67,0.685,2.735,0.75), (2.67,0.685,2.735,0.75), (2.67,0.685,2.925,0.75), (2.86,0.685,2.925,0.75), (2.86,0.685,2.952,0.75), (2.887,0.685,2.952,0.75), (2.887,0.685,3.062,0.75), (2.997,0.685,3.062,0.75), (2.997,0.685,3.227,0.75), (3.162,0.685,3.227,0.75), (3.162,0.685,3.227,0.75), (3.162,0.685,3.227,0.75), (3.162,0.685,3.365,0.75), (3.3,0.685,3.365,0.75), (3.3,0.685,3.395,0.75), (3.33,0.685,3.465,0.75), (4.285,0.685,4.42,0.75), (4.355,0.685,4.477,0.75), (4.412,0.685,4.477,0.75), (4.412,0.685,4.557,0.75), (4.492,0.685,4.557,0.75), (4.492,0.685,4.697,0.75), (4.632,0.685,4.697,0.75), (4.632,0.685,4.697,0.75), (4.632,0.685,4.697,0.75), (4.632,0.685,4.887,0.75), (4.822,0.685,4.887,0.75), (4.822,0.685,4.887,0.75), (4.822,0.685,4.887,0.75), (4.822,0.685,5.105,0.75), (5.04,0.685,5.175,0.75), (5.04,0.685,5.105,0.75), (5.04,0.685,5.105,0.75), (5.11,0.685,5.242,0.75), (5.177,0.685,5.312,0.75), (5.177,0.685,5.242,0.75), (5.247,0.685,5.312,0.75), (5.247,0.685,5.49,0.75), (5.425,0.685,5.49,0.75), (5.425,0.685,5.49,0.75), (5.425,0.685,5.49,0.75), (5.425,0.685,5.64,0.75), (5.575,0.685,5.64,0.75), (5.575,0.685,5.667,0.75), (7.47,0.92,7.535,1.195), (7.66,0.92,7.725,0.985), (7.66,0.92,7.725,0.985), (7.66,0.92,7.732,1.195), (7.667,1.017,7.732,1.082), (6.677,1.095,6.812,1.16), (6.747,1.095,6.812,1.35), (7.06,1.095,7.195,1.16), (7.13,1.095,7.195,1.35), (7.47,1.13,7.535,1.35), (0,1.285,7.77,1.4)])
R(complex109, boundary, [(0,0,7.77,1.4)])
complex109.add(gdstk.Label('A', (6.86,0.7), layer=11, texttype=0))
complex109.add(gdstk.Label('B', (0.21,0.56), layer=11, texttype=0))
complex109.add(gdstk.Label('C', (1.82,0.7), layer=11, texttype=0))
complex109.add(gdstk.Label('D', (3.78,0.63), layer=11, texttype=0))
complex109.add(gdstk.Label('E', (2.1,0.7), layer=11, texttype=0))
complex109.add(gdstk.Label('F', (3.99,0.63), layer=11, texttype=0))
complex109.add(gdstk.Label('G', (5.67,0.7), layer=11, texttype=0))
complex109.add(gdstk.Label('H', (6.3,0.7), layer=11, texttype=0))
complex109.add(gdstk.Label('Y', (7.7,1.05), layer=11, texttype=0))
complex109.add(gdstk.Label('VCC', (0,1.4), layer=11, texttype=0))
complex109.add(gdstk.Label('GND', (0,0), layer=11, texttype=0))

lib.write_gds('COMPLEX109.gds')
